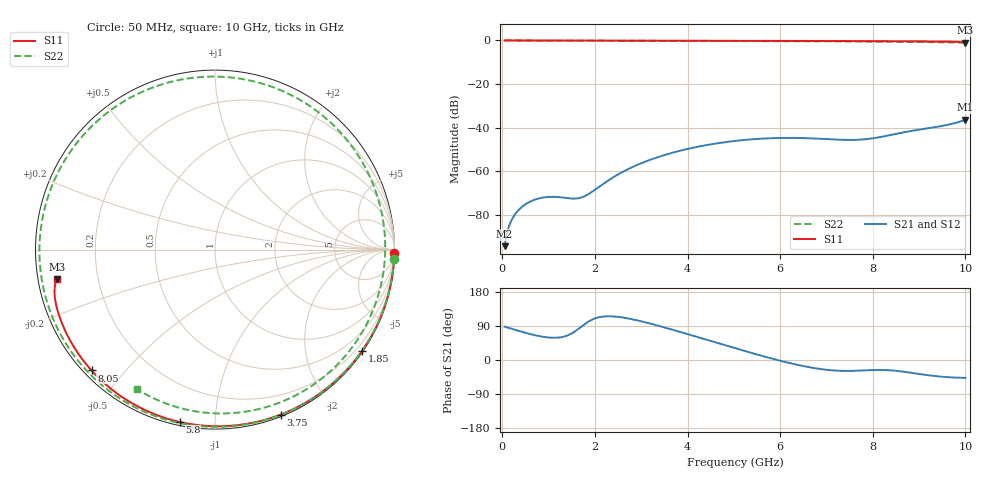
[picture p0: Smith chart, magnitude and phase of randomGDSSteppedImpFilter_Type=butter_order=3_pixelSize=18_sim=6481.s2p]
! freq	dB(S11)	phase(S11)	dB(S12)	phase(S12)
!  dB(S21)	phase(S21)	dB(S22)	phase(S22)
!S-par simulation data
#  GHz  S  DB  R 50
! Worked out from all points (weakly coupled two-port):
!   200 points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, 50 MHz to 10 GHz, reference 50 ohm
!   highest |S21| = -36.34 dB at 10 GHz (marker M1); lowest = -94.3 dB at 50 MHz (marker M2)
!   lowest |S11| = -1.0 dB at 10 GHz (marker M3), VSWR 18.22, Z = 2.77 - j4.57 ohm
!   |S11| at or under -10 dB: nowhere
!   |S22| runs from -1.0 to 0.0 dB; largest |S21 - S12| = 0
!   S11 on the Smith chart (normalised r, x): 50 MHz: open; 1.85 GHz: 0.03, -3.20; 3.75 GHz: 0.02, -1.47; 5.8 GHz: 0.02, -0.82; 8.05 GHz: 0.02, -0.41; 10 GHz: 0.06, -0.09
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0.05  -0.00 -1.0  -94.28 88.1  -94.28 88.1  -0.00 -2.9
0.25  -0.01 -4.8  -80.49 80.6  -80.49 80.6  -0.02 -14.5
0.55  -0.01 -10.5  -74.43 70.1  -74.43 70.1  -0.04 -31.6
0.95  -0.02 -18.0  -71.80 60.0  -71.80 60.0  -0.07 -53.7
1.35  -0.03 -25.5  -72.11 62.3  -72.11 62.3  -0.09 -74.8
1.75  -0.04 -32.9  -71.63 92.0  -71.63 92.0  -0.11 -94.7
1.85  -0.04 -34.7  -70.56 100.5  -70.56 100.5  -0.11 -99.4
2.65  -0.06 -49.2  -59.68 111.1  -59.68 111.1  -0.15 -135.5
3.4  -0.08 -62.3  -53.19 89.4  -53.19 89.4  -0.18 -166.9
3.75  -0.09 -68.3  -51.03 77.3  -51.03 77.3  -0.19 178.7
4.4  -0.11 -79.1  -48.00 53.9  -48.00 53.9  -0.23 151.8
5.05  -0.14 -89.7  -45.99 30.4  -45.99 30.4  -0.27 123.8
5.8  -0.17 -101.5  -44.81 4.4  -44.81 4.4  -0.32 89.0
6.25  -0.20 -108.5  -44.66 -9.4  -44.66 -9.4  -0.35 66.8
6.7  -0.23 -115.3  -44.90 -20.6  -44.90 -20.6  -0.38 43.7
7.4  -0.28 -125.9  -45.56 -28.8  -45.56 -28.8  -0.45 7.0
8.05  -0.33 -135.6  -44.70 -26.3  -44.70 -26.3  -0.53 -26.5
8.35  -0.36 -140.1  -43.49 -27.0  -43.49 -27.0  -0.57 -41.5
8.75  -0.41 -146.2  -41.79 -32.3  -41.79 -32.3  -0.65 -61.0
9.15  -0.46 -152.6  -40.38 -39.5  -40.38 -39.5  -0.74 -79.8
9.55  -0.54 -159.4  -38.95 -44.7  -38.95 -44.7  -0.85 -98.4
10  -0.95 -169.5  -36.34 -47.2  -36.34 -47.2  -1.01 -119.3
